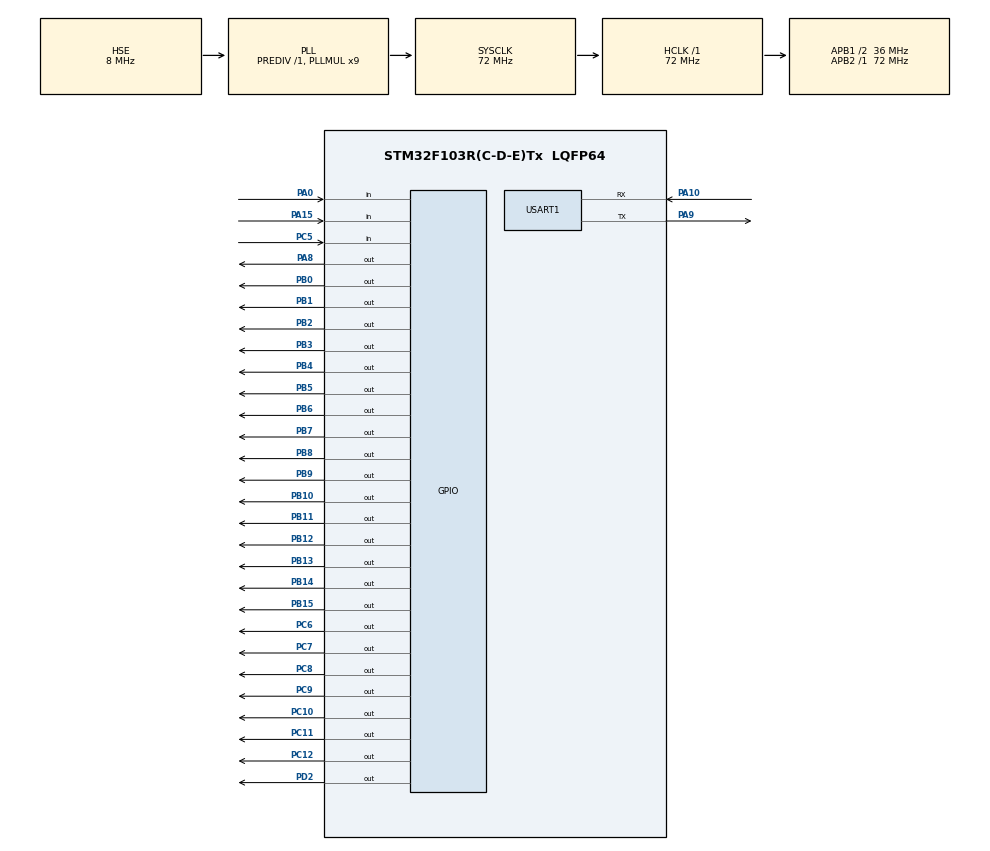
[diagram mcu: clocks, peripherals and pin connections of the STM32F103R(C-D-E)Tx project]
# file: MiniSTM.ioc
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Mcu.Family=STM32F1
Mcu.Name=STM32F103R(C-D-E)Tx
Mcu.Package=LQFP64
NVIC.PriorityGroup=NVIC_PRIORITYGROUP_4
PA0-WKUP.GPIO_PuPd=GPIO_PULLDOWN
PA0-WKUP.Signal=GPIO_Input
PA10.Mode=Asynchronous
PA10.Signal=USART1_RX
PA13.Mode=Serial_Wire
PA13.Signal=SYS_JTMS-SWDIO
PA14.Mode=Serial_Wire
PA14.Signal=SYS_JTCK-SWCLK
PA15.GPIO_PuPd=GPIO_PULLUP
PA15.Signal=GPIO_Input
PA8.GPIO_PuPd=GPIO_PULLUP
PA8.GPIO_Speed=GPIO_SPEED_FREQ_HIGH
PA8.Signal=GPIO_Output
PA9.Mode=Asynchronous
PA9.Signal=USART1_TX
PB0.GPIO_PuPd=GPIO_PULLUP
PB0.GPIO_Speed=GPIO_SPEED_FREQ_HIGH
PB0.Signal=GPIO_Output
PB1.GPIO_PuPd=GPIO_PULLUP
PB1.GPIO_Speed=GPIO_SPEED_FREQ_HIGH
PB1.Signal=GPIO_Output
PB10.GPIO_PuPd=GPIO_PULLUP
PB10.GPIO_Speed=GPIO_SPEED_FREQ_HIGH
PB10.Signal=GPIO_Output
PB11.GPIO_PuPd=GPIO_PULLUP
PB11.GPIO_Speed=GPIO_SPEED_FREQ_HIGH
PB11.Signal=GPIO_Output
PB12.GPIO_PuPd=GPIO_PULLUP
PB12.GPIO_Speed=GPIO_SPEED_FREQ_HIGH
PB12.Signal=GPIO_Output
PB13.GPIO_PuPd=GPIO_PULLUP
PB13.GPIO_Speed=GPIO_SPEED_FREQ_HIGH
PB13.Signal=GPIO_Output
PB14.GPIO_PuPd=GPIO_PULLUP
PB14.GPIO_Speed=GPIO_SPEED_FREQ_HIGH
PB14.Signal=GPIO_Output
PB15.GPIO_PuPd=GPIO_PULLUP
PB15.GPIO_Speed=GPIO_SPEED_FREQ_HIGH
PB15.Signal=GPIO_Output
PB2.GPIO_PuPd=GPIO_PULLUP
PB2.GPIO_Speed=GPIO_SPEED_FREQ_HIGH
PB2.Signal=GPIO_Output
PB3.GPIO_PuPd=GPIO_PULLUP
PB3.GPIO_Speed=GPIO_SPEED_FREQ_HIGH
PB3.Signal=GPIO_Output
PB4.GPIO_PuPd=GPIO_PULLUP
PB4.GPIO_Speed=GPIO_SPEED_FREQ_HIGH
PB4.Signal=GPIO_Output
PB5.GPIO_PuPd=GPIO_PULLUP
PB5.GPIO_Speed=GPIO_SPEED_FREQ_HIGH
PB5.Signal=GPIO_Output
PB6.GPIO_PuPd=GPIO_PULLUP
PB6.GPIO_Speed=GPIO_SPEED_FREQ_HIGH
PB6.Signal=GPIO_Output
PB7.GPIO_PuPd=GPIO_PULLUP
PB7.GPIO_Speed=GPIO_SPEED_FREQ_HIGH
PB7.Signal=GPIO_Output
PB8.GPIO_PuPd=GPIO_PULLUP
PB8.GPIO_Speed=GPIO_SPEED_FREQ_HIGH
PB8.PinState=GPIO_PIN_SET
PB8.Signal=GPIO_Output
PB9.GPIO_PuPd=GPIO_PULLUP
PB9.GPIO_Speed=GPIO_SPEED_FREQ_HIGH
PB9.Signal=GPIO_Output
PC10.GPIO_PuPd=GPIO_PULLUP
PC10.GPIO_Speed=GPIO_SPEED_FREQ_HIGH
PC10.Signal=GPIO_Output
PC11.GPIO_PuPd=GPIO_PULLUP
PC11.GPIO_Speed=GPIO_SPEED_FREQ_HIGH
PC11.Signal=GPIO_Output
PC12.GPIO_PuPd=GPIO_PULLUP
PC12.GPIO_Speed=GPIO_SPEED_FREQ_HIGH
PC12.Signal=GPIO_Output
PC14-OSC32_IN.Mode=LSE-External-Oscillator
PC14-OSC32_IN.Signal=RCC_OSC32_IN
PC15-OSC32_OUT.Mode=LSE-External-Oscillator
PC15-OSC32_OUT.Signal=RCC_OSC32_OUT
PC5.GPIO_PuPd=GPIO_PULLUP
PC5.Signal=GPIO_Input
PC6.GPIO_PuPd=GPIO_PULLUP
PC6.GPIO_Speed=GPIO_SPEED_FREQ_HIGH
PC6.Signal=GPIO_Output
PC7.GPIO_PuPd=GPIO_PULLUP
PC7.GPIO_Speed=GPIO_SPEED_FREQ_HIGH
PC7.Signal=GPIO_Output
PC8.GPIO_PuPd=GPIO_PULLUP
PC8.GPIO_Speed=GPIO_SPEED_FREQ_HIGH
PC8.Signal=GPIO_Output
PC9.GPIO_PuPd=GPIO_PULLUP
PC9.GPIO_Speed=GPIO_SPEED_FREQ_HIGH
PC9.Signal=GPIO_Output
PD0-OSC_IN.Mode=HSE-External-Oscillator
PD0-OSC_IN.Signal=RCC_OSC_IN
PD1-OSC_OUT.Mode=HSE-External-Oscillator
PD1-OSC_OUT.Signal=RCC_OSC_OUT
PD2.GPIO_PuPd=GPIO_PULLUP
PD2.GPIO_Speed=GPIO_SPEED_FREQ_HIGH
PD2.PinState=GPIO_PIN_SET
PD2.Signal=GPIO_Output
ProjectManager.HeapSize=0x200
ProjectManager.StackSize=0x400
ProjectManager.TargetToolchain=MDK-ARM V5.32
RCC.ADCPresc=RCC_ADCPCLK2_DIV6
RCC.AHBFreq_Value=72000000
RCC.APB1CLKDivider=RCC_HCLK_DIV2
RCC.APB1Freq_Value=36000000
RCC.APB1TimFreq_Value=72000000
RCC.APB2Freq_Value=72000000
RCC.APB2TimFreq_Value=72000000
RCC.HCLKFreq_Value=72000000
RCC.PLLMUL=RCC_PLL_MUL9
RCC.PLLSourceVirtual=RCC_PLLSOURCE_HSE
RCC.SYSCLKFreq_VALUE=72000000
RCC.SYSCLKSource=RCC_SYSCLKSOURCE_PLLCLK
RCC.USBFreq_Value=72000000
TIM4.AutoReloadPreload=TIM_AUTORELOAD_PRELOAD_DISABLE
TIM4.Channel-Output\ Compare1\ No\ Output=TIM_CHANNEL_1
TIM4.Period=1000
TIM4.Prescaler=8399
USART1.VirtualMode=VM_ASYNC
VP_TIM4_VS_ClockSourceITR.Mode=TriggerSource_ITR0
board=custom

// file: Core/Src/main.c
/* USER CODE BEGIN Header */
/**
 ******************************************************************************
 * @file           : main.c
 * @brief          : Main program body
 ******************************************************************************
 * @attention
 *
 * Copyright (c) 2022 STMicroelectronics.
 * All rights reserved.
 *
 * This software is licensed under terms that can be found in the LICENSE file
 * in the root directory of this software component.
 * If no LICENSE file comes with this software, it is provided AS-IS.
 *
 ******************************************************************************
 */
/* USER CODE END Header */
#include "main.h"
#include "tim.h"
#include "usart.h"
#include "gpio.h"

/* USER CODE BEGIN Includes */
#include "led.h"
#include "key.h"
#include "lcd.h"
#include "uart.h"
#include "usmart.h"
#include "24cxx.h"
/* USER CODE END Includes */

/* USER CODE BEGIN PD */
const uint8_t TEXT_Buffer[]={"MiniSTM32 IIC TEST"};
#define SIZE sizeof(TEXT_Buffer)
/* USER CODE END PD */

void SystemClock_Config(void);

int main(void)
{
  /* USER CODE BEGIN 1 */
	uint8_t key;
	uint16_t i=0;
	uint8_t datatemp[SIZE];
  /* USER CODE END 1 */

  /* MCU Configuration--------------------------------------------------------*/

  /* Reset of all peripherals, Initializes the Flash interface and the Systick. */
  HAL_Init();

  /* Configure the system clock */
  SystemClock_Config();

  /* Initialize all configured peripherals */
  MX_GPIO_Init();
  MX_USART1_UART_Init();
  MX_TIM4_Init();
  /* USER CODE BEGIN 2 */
	LCD_Init();

  HAL_NVIC_EnableIRQ(TIM4_IRQn);
	HAL_NVIC_SetPriority(TIM4_IRQn,9,0);
	HAL_TIM_Base_Start_IT(&htim4);

	HAL_NVIC_EnableIRQ(USART1_IRQn);
	HAL_NVIC_SetPriority(USART1_IRQn,9,0);
	HAL_UART_Receive_IT(&huart1, (uint8_t *)aRxBuffer, RXBUFFERSIZE);

	POINT_COLOR=RED;
	LCD_ShowString(30,50,200,16,16,"Mini STM32");
	LCD_ShowString(30,70,200,16,16,"IIC TEST");
	LCD_ShowString(30,90,200,16,16,"ATOM@ALIENTEK");
	LCD_ShowString(30,110,200,16,16,"2019/11/15");
	LCD_ShowString(30,130,200,16,16,"KEY1:Write  KEY0:Read");
	while(AT24CXX_Check())
	{
		LCD_ShowString(30,150,200,16,16,"24C02 Check Failed!");
		HAL_Delay(500);
		LCD_ShowString(30,150,200,16,16,"Please Check!      ");
		HAL_Delay(500);
		LED0=!LED0;
	}
	LCD_ShowString(30,150,200,16,16,"24C02 Ready!");

  /* USER CODE END 2 */

  /* Infinite loop */
  /* USER CODE BEGIN WHILE */
	while (1)
	{
		key=KEY_Scan(0);
		if(key==KEY1_PRES)
		{
			LCD_Fill(0,170,239,319,WHITE);
			LCD_ShowString(30,170,200,16,16,"Start Write 24C02....");
			AT24CXX_Write(0,(uint8_t*)TEXT_Buffer,SIZE);
			LCD_ShowString(30,170,200,16,16,"24C02 Write Finished!");
		}
		if(key==KEY0_PRES)
		{
			LCD_ShowString(30,170,200,16,16,"Start Read 24C02.... ");
			AT24CXX_Read(0,datatemp,SIZE);
			LCD_ShowString(30,170,200,16,16,"The Data Readed Is:  ");
			LCD_ShowString(30,190,200,16,16,datatemp);
		}
		i++;
		HAL_Delay(10);
		if(i==20)
		{
			LED0=!LED0;
			i=0;
		}
    /* USER CODE END WHILE */

	}
}

void SystemClock_Config(void)
{
  RCC_OscInitTypeDef RCC_OscInitStruct = {0};
  RCC_ClkInitTypeDef RCC_ClkInitStruct = {0};

  /** Initializes the RCC Oscillators according to the specified parameters
  * in the RCC_OscInitTypeDef structure.
  */
  RCC_OscInitStruct.OscillatorType = RCC_OSCILLATORTYPE_HSE;
  RCC_OscInitStruct.HSEState = RCC_HSE_ON;
  RCC_OscInitStruct.HSEPredivValue = RCC_HSE_PREDIV_DIV1;
  RCC_OscInitStruct.HSIState = RCC_HSI_ON;
  RCC_OscInitStruct.PLL.PLLState = RCC_PLL_ON;
  RCC_OscInitStruct.PLL.PLLSource = RCC_PLLSOURCE_HSE;
  RCC_OscInitStruct.PLL.PLLMUL = RCC_PLL_MUL9;
  if (HAL_RCC_OscConfig(&RCC_OscInitStruct) != HAL_OK)
  {
    Error_Handler();
  }

  /** Initializes the CPU, AHB and APB buses clocks
  */
  RCC_ClkInitStruct.ClockType = RCC_CLOCKTYPE_HCLK|RCC_CLOCKTYPE_SYSCLK
                              |RCC_CLOCKTYPE_PCLK1|RCC_CLOCKTYPE_PCLK2;
  RCC_ClkInitStruct.SYSCLKSource = RCC_SYSCLKSOURCE_PLLCLK;
  RCC_ClkInitStruct.AHBCLKDivider = RCC_SYSCLK_DIV1;
  RCC_ClkInitStruct.APB1CLKDivider = RCC_HCLK_DIV2;
  RCC_ClkInitStruct.APB2CLKDivider = RCC_HCLK_DIV1;

  if (HAL_RCC_ClockConfig(&RCC_ClkInitStruct, FLASH_LATENCY_2) != HAL_OK)
  {
    Error_Handler();
  }
}

void Error_Handler(void)
{
	__disable_irq();
	while (1)
	{
	}
}
